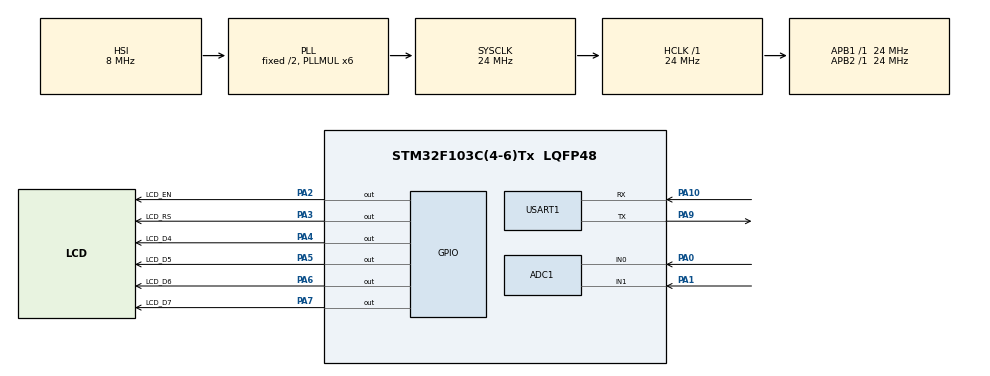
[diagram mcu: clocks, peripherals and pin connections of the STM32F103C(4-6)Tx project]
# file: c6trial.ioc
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Mcu.Family=STM32F1
ADC1.Rank-0\#ChannelRegularConversion=1
PD1-OSC_OUT.Mode=HSE-External-Oscillator
PA10.Mode=Asynchronous
PA6.GPIO_Label=LCD_D6
PD0-OSC_IN.Signal=RCC_OSC_IN
VP_SYS_VS_ND.Mode=No_Debug
RCC.SYSCLKSource=RCC_SYSCLKSOURCE_PLLCLK
ProjectManager.StackSize=0x400
PA0-WKUP.Signal=ADCx_IN0
PD1-OSC_OUT.Signal=RCC_OSC_OUT
PA9.Mode=Asynchronous
ProjectManager.TargetToolchain=STM32CubeIDE
RCC.HCLKFreq_Value=24000000
RCC.APB2TimFreq_Value=24000000
PA9.Signal=USART1_TX
RCC.USBFreq_Value=24000000
PA1.Signal=ADCx_IN1
RCC.AHBFreq_Value=24000000
PD0-OSC_IN.Mode=HSE-External-Oscillator
PA5.Signal=GPIO_Output
ADC1.Channel-0\#ChannelRegularConversion=ADC_CHANNEL_0
board=custom
RCC.PLLMUL=RCC_PLL_MUL6
RCC.APB2Freq_Value=24000000
SH.ADCx_IN0.0=ADC1_IN0,IN0
Mcu.Name=STM32F103C(4-6)Tx
ADC1.SamplingTime-0\#ChannelRegularConversion=ADC_SAMPLETIME_28CYCLES_5
PA2.Signal=GPIO_Output
PA4.Signal=GPIO_Output
RCC.SYSCLKFreq_VALUE=24000000
Mcu.Package=LQFP48
PA6.Signal=GPIO_Output
PA7.GPIO_Label=LCD_D7
ADC1.master=1
PA5.GPIO_Label=LCD_D5
USART1.VirtualMode=VM_ASYNC
PA2.GPIO_Label=LCD_EN
PA10.Signal=USART1_RX
ProjectManager.HeapSize=0x200
NVIC.PriorityGroup=NVIC_PRIORITYGROUP_4
ADC1.NbrOfConversionFlag=1
SH.ADCx_IN1.0=ADC1_IN1,IN1
RCC.APB1TimFreq_Value=24000000
RCC.APB1Freq_Value=24000000
PA4.GPIO_Label=LCD_D4
PA3.GPIO_Label=LCD_RS
PA3.Signal=GPIO_Output
PA7.Signal=GPIO_Output

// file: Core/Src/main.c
/* USER CODE BEGIN Header */
/**
  ******************************************************************************
  * @file           : main.c
  * @brief          : Main program body
  ******************************************************************************
  * @attention
  *
  * <h2><center>&copy; Copyright (c) 2021 STMicroelectronics.
  * All rights reserved.</center></h2>
  *
  * This software component is licensed by ST under BSD 3-Clause license,
  * the "License"; You may not use this file except in compliance with the
  * License. You may obtain a copy of the License at:
  *                        opensource.org/licenses/BSD-3-Clause
  *
  ******************************************************************************
  */
/* USER CODE END Header */
#include "main.h"

/* USER CODE BEGIN Includes */
#include "LCD.h"
#include<stdio.h>
#include <string.h>
/* USER CODE END Includes */

ADC_HandleTypeDef hadc1;

UART_HandleTypeDef huart1;

void SystemClock_Config(void);
static void MX_GPIO_Init(void);
static void MX_ADC1_Init(void);
static void MX_USART1_UART_Init(void);

/* USER CODE BEGIN 0 */
uint32_t adcVal0, adcVal1;
ADC_ChannelConfTypeDef sConfig;

char msg[32];
char tem1[32];
/* USER CODE END 0 */

int main(void)
{

  /* MCU Configuration--------------------------------------------------------*/

  /* Reset of all peripherals, Initializes the Flash interface and the Systick. */
  HAL_Init();

  /* Configure the system clock */
  SystemClock_Config();

  /* Initialize all configured peripherals */
  MX_GPIO_Init();
  MX_ADC1_Init();
  MX_USART1_UART_Init();
  /* USER CODE BEGIN 2 */
  lcd_init(_LCD_4BIT, _LCD_FONT_5x8, _LCD_2LINE);

  lcd_print(1,1,"Displaying Values");
  HAL_Delay(100);
  lcd_clear();
  /* Initializes SHT2x temperature/humidity sensor and sets the resolution. */
  /* USER CODE END 2 */

  /* Infinite loop */
  while (1)
  {

    /* USER CODE BEGIN 3 */
	  sConfig.Channel=ADC_CHANNEL_0;
	  HAL_ADC_ConfigChannel(&hadc1, &sConfig);
	  HAL_ADC_Start(&hadc1);
	  if(HAL_ADC_PollForConversion(&hadc1, 5)==HAL_OK)
	  {
	  	adcVal0=HAL_ADC_GetValue(&hadc1);
	  	adcVal0=(adcVal0*500)/4096;
	  	//adcVal0=(adcVal0/4095+0.095)/0.009;
	  	HAL_Delay(50);
	  	lcd_clear();
	  	char tem[32]="";
	  	sprintf(tem,"%lu",adcVal0);
	  	lcd_print(1,1,"Temperature");
	  	lcd_print(1,13,tem);
	  	HAL_Delay(50);
	  }
	  //HAL_Delay(1000);
	  sConfig.Channel=ADC_CHANNEL_1;
	  HAL_ADC_ConfigChannel(&hadc1, &sConfig);
	  HAL_ADC_Start(&hadc1);
	  if(HAL_ADC_PollForConversion(&hadc1, 5)==HAL_OK)
	  {
	  	adcVal1=HAL_ADC_GetValue(&hadc1);
	  	//adcVal1=(adcVal1*510)/4096;
	  	adcVal1=(((float)adcVal1/(float)4096)+0.095)/0.009-1;
	  	//adcVal0=(adcVal0/4095+0.095)/0.009;
	  	HAL_Delay(50);
	  	//lcd_clear();
	  	char tem1[32]="";
	  	sprintf(tem1,"%lu",adcVal1);
	  	lcd_print(2,13,tem1);
	  	lcd_print(2,1,"Pressure");
	  	HAL_Delay(100);
	  }
	  sprintf(msg,"Pressure=%lu Percent\r\n",adcVal1);
	  HAL_UART_Transmit(&huart1,(uint8_t*)msg,strlen(msg),HAL_MAX_DELAY);
	  HAL_Delay(10);
	  char msg[32]="";
	  sprintf(msg,"Temperature=%lu Celcius\r\n",adcVal0);
	  HAL_UART_Transmit(&huart1,(uint8_t*)msg,strlen(msg),HAL_MAX_DELAY);
	  HAL_Delay(10);
  }
  /* USER CODE END 3 */
}

void SystemClock_Config(void)
{
  RCC_OscInitTypeDef RCC_OscInitStruct = {0};
  RCC_ClkInitTypeDef RCC_ClkInitStruct = {0};
  RCC_PeriphCLKInitTypeDef PeriphClkInit = {0};

  /** Initializes the RCC Oscillators according to the specified parameters
  * in the RCC_OscInitTypeDef structure.
  */
  RCC_OscInitStruct.OscillatorType = RCC_OSCILLATORTYPE_HSI;
  RCC_OscInitStruct.HSIState = RCC_HSI_ON;
  RCC_OscInitStruct.HSICalibrationValue = RCC_HSICALIBRATION_DEFAULT;
  RCC_OscInitStruct.PLL.PLLState = RCC_PLL_ON;
  RCC_OscInitStruct.PLL.PLLSource = RCC_PLLSOURCE_HSI_DIV2;
  RCC_OscInitStruct.PLL.PLLMUL = RCC_PLL_MUL6;
  if (HAL_RCC_OscConfig(&RCC_OscInitStruct) != HAL_OK)
  {
    Error_Handler();
  }
  /** Initializes the CPU, AHB and APB buses clocks
  */
  RCC_ClkInitStruct.ClockType = RCC_CLOCKTYPE_HCLK|RCC_CLOCKTYPE_SYSCLK
                              |RCC_CLOCKTYPE_PCLK1|RCC_CLOCKTYPE_PCLK2;
  RCC_ClkInitStruct.SYSCLKSource = RCC_SYSCLKSOURCE_PLLCLK;
  RCC_ClkInitStruct.AHBCLKDivider = RCC_SYSCLK_DIV1;
  RCC_ClkInitStruct.APB1CLKDivider = RCC_HCLK_DIV1;
  RCC_ClkInitStruct.APB2CLKDivider = RCC_HCLK_DIV1;

  if (HAL_RCC_ClockConfig(&RCC_ClkInitStruct, FLASH_LATENCY_0) != HAL_OK)
  {
    Error_Handler();
  }
  PeriphClkInit.PeriphClockSelection = RCC_PERIPHCLK_ADC;
  PeriphClkInit.AdcClockSelection = RCC_ADCPCLK2_DIV2;
  if (HAL_RCCEx_PeriphCLKConfig(&PeriphClkInit) != HAL_OK)
  {
    Error_Handler();
  }
}

static void MX_ADC1_Init(void)
{

  //ADC_ChannelConfTypeDef sConfig = {0};

  /** Common config
  */
  hadc1.Instance = ADC1;
  hadc1.Init.ScanConvMode = ADC_SCAN_DISABLE;
  hadc1.Init.ContinuousConvMode = DISABLE;
  hadc1.Init.DiscontinuousConvMode = DISABLE;
  hadc1.Init.ExternalTrigConv = ADC_SOFTWARE_START;
  hadc1.Init.DataAlign = ADC_DATAALIGN_RIGHT;
  hadc1.Init.NbrOfConversion = 1;
  if (HAL_ADC_Init(&hadc1) != HAL_OK)
  {
    Error_Handler();
  }
  /** Configure Regular Channel
  */
  sConfig.Channel = ADC_CHANNEL_0;
  sConfig.Rank = ADC_REGULAR_RANK_1;
  sConfig.SamplingTime = ADC_SAMPLETIME_28CYCLES_5;
  if (HAL_ADC_ConfigChannel(&hadc1, &sConfig) != HAL_OK)
  {
    Error_Handler();
  }

}

static void MX_USART1_UART_Init(void)
{

  huart1.Instance = USART1;
  huart1.Init.BaudRate = 115200;
  huart1.Init.WordLength = UART_WORDLENGTH_8B;
  huart1.Init.StopBits = UART_STOPBITS_1;
  huart1.Init.Parity = UART_PARITY_NONE;
  huart1.Init.Mode = UART_MODE_TX_RX;
  huart1.Init.HwFlowCtl = UART_HWCONTROL_NONE;
  huart1.Init.OverSampling = UART_OVERSAMPLING_16;
  if (HAL_UART_Init(&huart1) != HAL_OK)
  {
    Error_Handler();
  }

}

static void MX_GPIO_Init(void)
{
  GPIO_InitTypeDef GPIO_InitStruct = {0};

  /* GPIO Ports Clock Enable */
  __HAL_RCC_GPIOD_CLK_ENABLE();
  __HAL_RCC_GPIOA_CLK_ENABLE();

  /*Configure GPIO pin Output Level */
  HAL_GPIO_WritePin(GPIOA, LCD_EN_Pin|LCD_RS_Pin|LCD_D4_Pin|LCD_D5_Pin
                          |LCD_D6_Pin|LCD_D7_Pin, GPIO_PIN_RESET);

  /*Configure GPIO pins : LCD_EN_Pin LCD_RS_Pin LCD_D4_Pin LCD_D5_Pin
                           LCD_D6_Pin LCD_D7_Pin */
  GPIO_InitStruct.Pin = LCD_EN_Pin|LCD_RS_Pin|LCD_D4_Pin|LCD_D5_Pin
                          |LCD_D6_Pin|LCD_D7_Pin;
  GPIO_InitStruct.Mode = GPIO_MODE_OUTPUT_PP;
  GPIO_InitStruct.Pull = GPIO_NOPULL;
  GPIO_InitStruct.Speed = GPIO_SPEED_FREQ_LOW;
  HAL_GPIO_Init(GPIOA, &GPIO_InitStruct);

}

void Error_Handler(void)
{
  __disable_irq();
  while (1)
  {
  }
}

/************************ (C) COPYRIGHT STMicroelectronics *****END OF FILE****/
